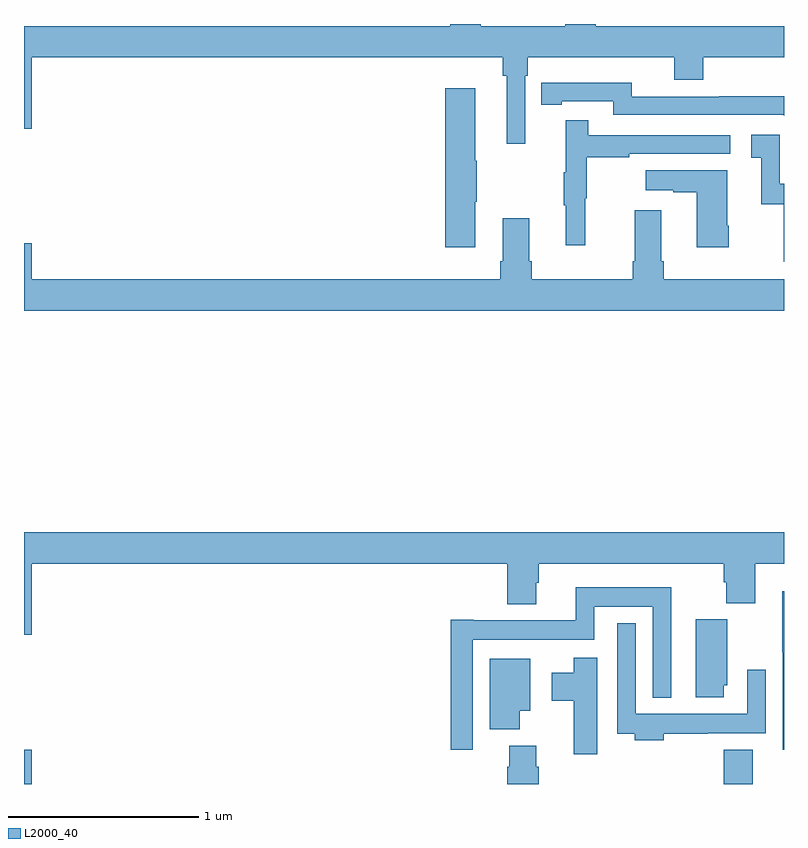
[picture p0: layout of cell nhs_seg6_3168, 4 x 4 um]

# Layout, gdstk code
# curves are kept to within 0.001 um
import gdstk
lib = gdstk.Library(unit=1e-6, precision=1e-09)
def R(c, l, rs):  # rectangles x0, y0, x1, y1
    for r in rs: c.add(gdstk.rectangle(r[:2], r[2:], *l))
def P(c, l, *ps):  # polygons
    for p in ps: c.add(gdstk.Polygon(p, *l))
L2000_40 = (2000, 40)

nhs_seg6_3168 = lib.new_cell('nhs_seg6_3168')
R(nhs_seg6_3168, L2000_40, [(297,955.5,297.04,955.681), (300.683,955.5,300.835,955.681)])
P(nhs_seg6_3168, L2000_40, [(299.521,959.228),(299.54,959.228),(299.54,958.869),(299.637,958.869),(299.637,959.228),(299.651,959.228),(299.651,959.324),(300.422,959.324),(300.422,959.207),(300.575,959.207),(300.575,959.324),(301,959.324),(301,959.488),(300.008,959.488),(300.008,959.5),(299.848,959.5),(299.848,959.488),(299.403,959.488),(299.403,959.5),(299.243,959.5),(299.243,959.488),(297,959.488),(297,958.95),(297.04,958.95),(297.04,959.324),(299.521,959.324)],
  [(301,959.12),(300.658,959.12),(300.658,959.118),(300.198,959.118),(300.198,959.191),(299.722,959.19),(299.722,959.074),(299.83,959.074),(299.83,959.094),(300.102,959.094),(300.102,959.022),(300.996,959.022),(301,959.018)],
  [(299.374,958.564),(299.382,958.564),(299.382,958.781),(299.374,958.781),(299.374,959.161),(299.216,959.161),(299.216,958.326),(299.374,958.326)],
  [(299.954,958.584),(299.962,958.584),(299.962,958.798),(300.185,958.798),(300.185,958.818),(300.718,958.818),(300.718,958.914),(299.969,958.914),(299.969,958.993),(299.852,958.993),(299.852,958.721),(299.841,958.721),(299.841,958.547),(299.852,958.547),(299.852,958.335),(299.954,958.335)],
  [(301,958.659),(300.978,958.659),(300.978,958.918),(300.828,958.918),(300.828,958.797),(300.881,958.797),(300.881,958.551),(300.999,958.551),(300.999,958.248),(301,958.248)],
  [(300.708,958.438),(300.7,958.438),(300.7,958.729),(300.273,958.729),(300.273,958.625),(300.416,958.625),(300.416,958.615),(300.542,958.615),(300.542,958.326),(300.708,958.326)],
  [(301,958.156),(300.368,958.156),(300.368,958.252),(300.355,958.252),(300.355,958.519),(300.215,958.519),(300.215,958.252),(300.203,958.252),(300.203,958.156),(299.672,958.156),(299.672,958.252),(299.659,958.252),(299.659,958.477),(299.519,958.477),(299.519,958.252),(299.507,958.252),(299.507,958.156),(297.04,958.156),(297.04,958.345),(297,958.345),(297,957.992),(301,957.992)],
  [(297,956.286),(297.04,956.286),(297.04,956.66),(299.543,956.66),(299.543,956.447),(299.695,956.447),(299.695,956.559),(299.708,956.559),(299.708,956.66),(300.683,956.66),(300.683,956.561),(300.695,956.561),(300.695,956.452),(300.848,956.452),(300.848,956.66),(301,956.66),(301,956.824),(297,956.824)],
  [(299.361,956.258),(300,956.258),(300,956.432),(300.309,956.432),(300.309,955.955),(300.406,955.955),(300.406,956.536),(299.903,956.536),(299.903,956.362),(299.368,956.362),(299.368,956.365),(299.245,956.365),(299.245,955.68),(299.361,955.68)],
  [(301,956.515),(300.992,956.515),(300.992,956.194),(300.993,956.194),(300.993,955.68),(301,955.68)],
  [(300.682,956.019),(300.7,956.019),(300.7,956.367),(300.536,956.367),(300.536,955.956),(300.682,955.956)],
  [(300.368,955.764),(300.599,955.764),(300.599,955.766),(300.903,955.766),(300.903,956.101),(300.807,956.101),(300.807,955.87),(300.219,955.87),(300.219,956.347),(300.123,956.347),(300.123,955.764),(300.215,955.764),(300.215,955.73),(300.368,955.73)],
  [(300.016,956.164),(299.894,956.164),(299.894,956.086),(299.777,956.086),(299.777,955.939),(299.894,955.939),(299.894,955.656),(300.016,955.656)],
  [(299.608,955.886),(299.665,955.886),(299.665,956.158),(299.45,956.158),(299.45,955.787),(299.608,955.787)],
  [(299.555,955.702),(299.555,955.59),(299.543,955.59),(299.543,955.5),(299.708,955.5),(299.708,955.59),(299.695,955.59),(299.695,955.702)])

lib.write_gds('nhs_seg6_3168.gds')
